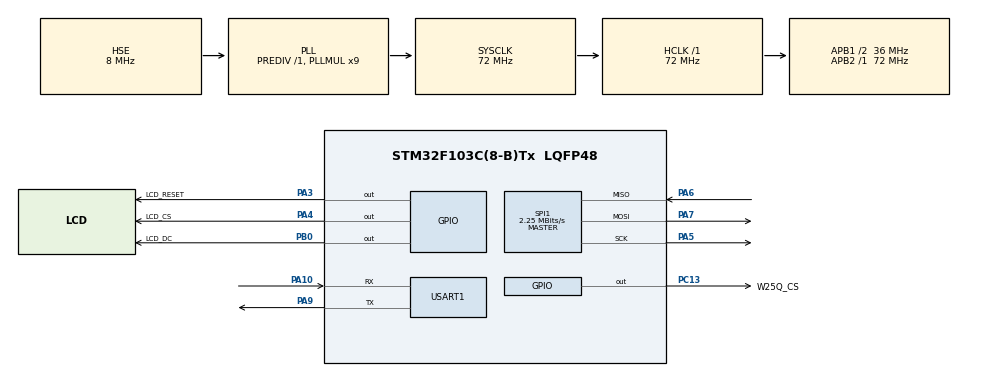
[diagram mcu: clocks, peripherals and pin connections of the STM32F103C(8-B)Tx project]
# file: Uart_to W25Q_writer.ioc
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Mcu.Family=STM32F1
Mcu.Name=STM32F103C(8-B)Tx
Mcu.Package=LQFP48
NVIC.PriorityGroup=NVIC_PRIORITYGROUP_4
NVIC.USART1_IRQn=true\:0\:0\:false\:false\:true\:true\:true
PA10.Mode=Asynchronous
PA10.Signal=USART1_RX
PA13.Mode=Serial_Wire
PA13.Signal=SYS_JTMS-SWDIO
PA14.Mode=Serial_Wire
PA14.Signal=SYS_JTCK-SWCLK
PA3.GPIO_Label=LCD_RESET
PA3.Signal=GPIO_Output
PA4.GPIO_Label=LCD_CS
PA4.Signal=GPIO_Output
PA5.Mode=Full_Duplex_Master
PA5.Signal=SPI1_SCK
PA6.Mode=Full_Duplex_Master
PA6.Signal=SPI1_MISO
PA7.Mode=Full_Duplex_Master
PA7.Signal=SPI1_MOSI
PA9.Mode=Asynchronous
PA9.Signal=USART1_TX
PB0.GPIO_Label=LCD_DC
PB0.Signal=GPIO_Output
PC13-TAMPER-RTC.GPIO_Label=W25Q_CS
PC13-TAMPER-RTC.PinState=GPIO_PIN_SET
PC13-TAMPER-RTC.Signal=GPIO_Output
PD0-OSC_IN.Mode=HSE-External-Oscillator
PD0-OSC_IN.Signal=RCC_OSC_IN
PD1-OSC_OUT.Mode=HSE-External-Oscillator
PD1-OSC_OUT.Signal=RCC_OSC_OUT
ProjectManager.HeapSize=0x200
ProjectManager.StackSize=0x400
ProjectManager.TargetToolchain=STM32CubeIDE
RCC.AHBFreq_Value=72000000
RCC.APB1CLKDivider=RCC_HCLK_DIV2
RCC.APB1Freq_Value=36000000
RCC.APB1TimFreq_Value=72000000
RCC.APB2Freq_Value=72000000
RCC.APB2TimFreq_Value=72000000
RCC.HCLKFreq_Value=72000000
RCC.PLLMUL=RCC_PLL_MUL9
RCC.PLLSourceVirtual=RCC_PLLSOURCE_HSE
RCC.SYSCLKFreq_VALUE=72000000
RCC.SYSCLKSource=RCC_SYSCLKSOURCE_PLLCLK
RCC.USBFreq_Value=72000000
SPI1.BaudRatePrescaler=SPI_BAUDRATEPRESCALER_32
SPI1.CalculateBaudRate=2.25 MBits/s
SPI1.Direction=SPI_DIRECTION_2LINES
SPI1.Mode=SPI_MODE_MASTER
SPI1.VirtualType=VM_MASTER
USART1.VirtualMode=VM_ASYNC
board=custom

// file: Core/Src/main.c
/* USER CODE BEGIN Header */
/**
  ******************************************************************************
	Test program for loading images in XBM format via UART
	and save to flash memory W25Q.To display uses the ST7565
	display with the U8G2 library.

	Тестовая программа для загрузки через UART картинок в формте XBM
	и сохранение в флэш память W25Q. Для отображения используется дисплей ST7565
	с библиотекой U8G2
  ******************************************************************************
  */
/* USER CODE END Header */
#include "main.h"

/* USER CODE BEGIN Includes */
#include "w25qxx.h"
#include "stdbool.h"
#include "stdio.h"
#include "string.h"
#include "u8g2.h"
/* USER CODE END Includes */

SPI_HandleTypeDef hspi1;

UART_HandleTypeDef huart1;

/* USER CODE BEGIN PV */
uint8_t rxSourceBuff[SOURCE_BUFFER_SIZE];
uint8_t rxdataBuff[DATA_BUFFER_SIZE];
volatile bool flag_uart_data_avalible = false;
volatile bool flag_uart_data_overflow = false;
uint16_t rx_received_len;
uint16_t rx_data_len;
uint16_t flash_sector_address;

u8g2_t u8g2;

/* USER CODE END PV */

void SystemClock_Config(void);
static void MX_GPIO_Init(void);
static void MX_SPI1_Init(void);
static void MX_USART1_UART_Init(void);
/* USER CODE BEGIN PFP */

void UartToFlashWriter(void);
int hex_char_to_bin(char ch);

uint8_t u8x8_byte_4wire_hw_spi(u8x8_t *u8x8, uint8_t msg, uint8_t arg_int, void *arg_ptr);
uint8_t u8g2_gpio_and_delay_stm32(U8X8_UNUSED u8x8_t *u8x8,
		U8X8_UNUSED uint8_t msg, U8X8_UNUSED uint8_t arg_int,
		U8X8_UNUSED void *arg_ptr);
void u8g_port_delay_10us(uint8_t us);
void u8g_port_delay_100ns(uint8_t ns);
void u8g_port_delay_ns(uint8_t ns);

/* USER CODE END PFP */

int main(void)
{

  /* MCU Configuration--------------------------------------------------------*/

  /* Reset of all peripherals, Initializes the Flash interface and the Systick. */
  HAL_Init();

  /* Configure the system clock */
  SystemClock_Config();

  /* Initialize all configured peripherals */
  MX_GPIO_Init();
  MX_SPI1_Init();
  MX_USART1_UART_Init();
  /* USER CODE BEGIN 2 */

  W25qxx_Init();
  //W25qxx_EraseChip();
  //W25qxx_EraseBlock(0); // 65536 байт
  //W25qxx_EraseSector(0); // 4096 байт
 // W25qxx_WriteSector(water_20level_bits, 0, 0, 1024);
  HAL_Delay(100);
  //W25qxx_ReadBytes(rxdataBuff, 0, 1024);

  HAL_UART_Receive_IT(&huart1, (uint8_t*)rxSourceBuff, SOURCE_BUFFER_SIZE);
  __HAL_UART_ENABLE_IT(&huart1, UART_IT_IDLE);

	u8g2_Setup_st7565_nhd_c12864_f(&u8g2, U8G2_R2, u8x8_byte_4wire_hw_spi, u8g2_gpio_and_delay_stm32);
	u8g2_InitDisplay(&u8g2); // send init sequence to the display, display is in sleep mode after this
	u8g2_SetPowerSave(&u8g2, 0); // wake up display
	u8g2_SetContrast(&u8g2, 250);
	u8g2_ClearDisplay(&u8g2);

	u8g2_SetFont(&u8g2, u8g2_font_courB18_tr);
	u8g2_DrawStr(&u8g2, 20, 30, "Hello!");
	u8g2_SendBuffer(&u8g2);
	HAL_Delay(1000);

  /* USER CODE END 2 */

  /* Infinite loop */
  /* USER CODE BEGIN WHILE */
  while (1)
  {

		UartToFlashWriter();

		u8g2_ClearBuffer(&u8g2);
		W25qxx_ReadBytes(rxdataBuff, 0, 1024);
		u8g2_DrawXBMP(&u8g2, 0, 0, 64, 55, rxdataBuff);
		u8g2_SendBuffer(&u8g2);
		HAL_Delay(3000);
		u8g2_ClearBuffer(&u8g2);
		W25qxx_ReadBytes(rxdataBuff, (FLASH_SECTOR_SIZE*1), 1024);
		u8g2_DrawXBMP(&u8g2, 0, 0, 64, 55, rxdataBuff);
		u8g2_SendBuffer(&u8g2);
		HAL_Delay(3000);
		u8g2_ClearBuffer(&u8g2);
		W25qxx_ReadBytes(rxdataBuff, (FLASH_SECTOR_SIZE*2), 1024);
		u8g2_DrawXBMP(&u8g2, 0, 0, 64, 55, rxdataBuff);
		u8g2_SendBuffer(&u8g2);
		HAL_Delay(3000);

    /* USER CODE END WHILE */

  }
}

void SystemClock_Config(void)
{
  RCC_OscInitTypeDef RCC_OscInitStruct = {0};
  RCC_ClkInitTypeDef RCC_ClkInitStruct = {0};

  /** Initializes the RCC Oscillators according to the specified parameters
  * in the RCC_OscInitTypeDef structure.
  */
  RCC_OscInitStruct.OscillatorType = RCC_OSCILLATORTYPE_HSE;
  RCC_OscInitStruct.HSEState = RCC_HSE_ON;
  RCC_OscInitStruct.HSEPredivValue = RCC_HSE_PREDIV_DIV1;
  RCC_OscInitStruct.HSIState = RCC_HSI_ON;
  RCC_OscInitStruct.PLL.PLLState = RCC_PLL_ON;
  RCC_OscInitStruct.PLL.PLLSource = RCC_PLLSOURCE_HSE;
  RCC_OscInitStruct.PLL.PLLMUL = RCC_PLL_MUL9;
  if (HAL_RCC_OscConfig(&RCC_OscInitStruct) != HAL_OK)
  {
    Error_Handler();
  }
  /** Initializes the CPU, AHB and APB buses clocks
  */
  RCC_ClkInitStruct.ClockType = RCC_CLOCKTYPE_HCLK|RCC_CLOCKTYPE_SYSCLK
                              |RCC_CLOCKTYPE_PCLK1|RCC_CLOCKTYPE_PCLK2;
  RCC_ClkInitStruct.SYSCLKSource = RCC_SYSCLKSOURCE_PLLCLK;
  RCC_ClkInitStruct.AHBCLKDivider = RCC_SYSCLK_DIV1;
  RCC_ClkInitStruct.APB1CLKDivider = RCC_HCLK_DIV2;
  RCC_ClkInitStruct.APB2CLKDivider = RCC_HCLK_DIV1;

  if (HAL_RCC_ClockConfig(&RCC_ClkInitStruct, FLASH_LATENCY_2) != HAL_OK)
  {
    Error_Handler();
  }
}

static void MX_SPI1_Init(void)
{

  /* SPI1 parameter configuration*/
  hspi1.Instance = SPI1;
  hspi1.Init.Mode = SPI_MODE_MASTER;
  hspi1.Init.Direction = SPI_DIRECTION_2LINES;
  hspi1.Init.DataSize = SPI_DATASIZE_8BIT;
  hspi1.Init.CLKPolarity = SPI_POLARITY_LOW;
  hspi1.Init.CLKPhase = SPI_PHASE_1EDGE;
  hspi1.Init.NSS = SPI_NSS_SOFT;
  hspi1.Init.BaudRatePrescaler = SPI_BAUDRATEPRESCALER_32;
  hspi1.Init.FirstBit = SPI_FIRSTBIT_MSB;
  hspi1.Init.TIMode = SPI_TIMODE_DISABLE;
  hspi1.Init.CRCCalculation = SPI_CRCCALCULATION_DISABLE;
  hspi1.Init.CRCPolynomial = 10;
  if (HAL_SPI_Init(&hspi1) != HAL_OK)
  {
    Error_Handler();
  }

}

static void MX_USART1_UART_Init(void)
{

  huart1.Instance = USART1;
  huart1.Init.BaudRate = 115200;
  huart1.Init.WordLength = UART_WORDLENGTH_8B;
  huart1.Init.StopBits = UART_STOPBITS_1;
  huart1.Init.Parity = UART_PARITY_NONE;
  huart1.Init.Mode = UART_MODE_TX_RX;
  huart1.Init.HwFlowCtl = UART_HWCONTROL_NONE;
  huart1.Init.OverSampling = UART_OVERSAMPLING_16;
  if (HAL_UART_Init(&huart1) != HAL_OK)
  {
    Error_Handler();
  }

}

static void MX_GPIO_Init(void)
{
  GPIO_InitTypeDef GPIO_InitStruct = {0};

  /* GPIO Ports Clock Enable */
  __HAL_RCC_GPIOC_CLK_ENABLE();
  __HAL_RCC_GPIOD_CLK_ENABLE();
  __HAL_RCC_GPIOA_CLK_ENABLE();
  __HAL_RCC_GPIOB_CLK_ENABLE();

  /*Configure GPIO pin Output Level */
  HAL_GPIO_WritePin(W25Q_CS_GPIO_Port, W25Q_CS_Pin, GPIO_PIN_SET);

  /*Configure GPIO pin Output Level */
  HAL_GPIO_WritePin(GPIOA, LCD_RESET_Pin|LCD_CS_Pin, GPIO_PIN_RESET);

  /*Configure GPIO pin Output Level */
  HAL_GPIO_WritePin(LCD_DC_GPIO_Port, LCD_DC_Pin, GPIO_PIN_RESET);

  /*Configure GPIO pin : W25Q_CS_Pin */
  GPIO_InitStruct.Pin = W25Q_CS_Pin;
  GPIO_InitStruct.Mode = GPIO_MODE_OUTPUT_PP;
  GPIO_InitStruct.Pull = GPIO_NOPULL;
  GPIO_InitStruct.Speed = GPIO_SPEED_FREQ_LOW;
  HAL_GPIO_Init(W25Q_CS_GPIO_Port, &GPIO_InitStruct);

  /*Configure GPIO pins : LCD_RESET_Pin LCD_CS_Pin */
  GPIO_InitStruct.Pin = LCD_RESET_Pin|LCD_CS_Pin;
  GPIO_InitStruct.Mode = GPIO_MODE_OUTPUT_PP;
  GPIO_InitStruct.Pull = GPIO_NOPULL;
  GPIO_InitStruct.Speed = GPIO_SPEED_FREQ_LOW;
  HAL_GPIO_Init(GPIOA, &GPIO_InitStruct);

  /*Configure GPIO pin : LCD_DC_Pin */
  GPIO_InitStruct.Pin = LCD_DC_Pin;
  GPIO_InitStruct.Mode = GPIO_MODE_OUTPUT_PP;
  GPIO_InitStruct.Pull = GPIO_NOPULL;
  GPIO_InitStruct.Speed = GPIO_SPEED_FREQ_LOW;
  HAL_GPIO_Init(LCD_DC_GPIO_Port, &GPIO_InitStruct);

}

/* USER CODE BEGIN 4 */

//колбэк прерывания по завершению приёма данных максимального размера буфера
void HAL_UART_RxCpltCallback(UART_HandleTypeDef *huart)
{
         if(huart == &huart1)

          {
        	 flag_uart_data_overflow = true;

        	 /*
        	  __HAL_UART_DISABLE_IT(&huart1, UART_IT_IDLE);
        	  rx_received_len = SOURCE_BUFFER_SIZE;
        	  flag_uart_data_avalible = 1;
			  HAL_UART_AbortReceive(&huart1);
			  __HAL_UART_CLEAR_IDLEFLAG(&huart1);
			  __HAL_UART_ENABLE_IT(&huart1, UART_IT_IDLE);
			  HAL_UART_Receive_IT(&huart1, (uint8_t*)rxSourceBuff, SOURCE_BUFFER_SIZE);
			*/
          }

}
//*************************************************************************

// функция колбэк срабатывания флага свободности UART
//определяет конец приёма при неизвестном размере входных данных
//проверка флага UART_FLAG_IDLE и колбэк добавлены в обработчик прерывания
void HAL_UART_IDLE_Callback(UART_HandleTypeDef *huart)
{

	if(huart == &huart1)
	{
		__HAL_UART_DISABLE_IT(&huart1, UART_IT_IDLE);
		rx_received_len = SOURCE_BUFFER_SIZE - huart->RxXferCount;

		flag_uart_data_avalible = true;
		HAL_UART_AbortReceive(&huart1);
		__HAL_UART_CLEAR_IDLEFLAG(&huart1);
		__HAL_UART_ENABLE_IT(&huart1, UART_IT_IDLE);
		HAL_UART_Receive_IT(&huart1, (uint8_t*)rxSourceBuff, SOURCE_BUFFER_SIZE);
	}
}
//**************************************************************************

//функция приёма данных по UART и записи их во флэш W25Q
void UartToFlashWriter(void){

	if (flag_uart_data_avalible) {

		flag_uart_data_avalible = false;

		enum state {
			check_sector_index_prefix,
			read_sector_index,
			check_byte_prefix,
			read_byte,
			write_byte,
			next,
			save_data,
			source_overflow,
			data_overflow,
			error,
			end
		};

		enum state step = check_sector_index_prefix;
		uint16_t i = 0; //incoming char counter
		uint8_t data_byte = 0;
		bool flag_flash_address_ok = false;
		bool flag_end = false;
		char buff[64] = { 0, };

		if (flag_uart_data_overflow) {
			step = source_overflow;
			flag_uart_data_overflow = false;
		} else {
			step = check_sector_index_prefix;
		}

		while (!flag_end) {

			switch (step) {

			case check_sector_index_prefix:
				if (rxSourceBuff[i] == '$' && rxSourceBuff[i + 1] == '0'
						&& rxSourceBuff[i + 2] == 'x'
						&& rxSourceBuff[i + 5] == '$') {
					step = read_sector_index;
					i += 3;
					flag_flash_address_ok = true;
				} else {
					step = next;
				}
				break;

			case read_sector_index:
				flash_sector_address = hex_char_to_bin(rxSourceBuff[i]) * 16;
				flash_sector_address += hex_char_to_bin(rxSourceBuff[i + 1]);

				if ((flash_sector_address >= FLASH_SECTOR_RANGE_MIN)
						|| (flash_sector_address <= FLASH_SECTOR_RANGE_MAX)) {
					i += 3;
					step = check_byte_prefix;
				} else {
					sprintf(buff, "\r\n Flash sector address %d not correct.",
							flash_sector_address);
					HAL_UART_Transmit(&huart1, (uint8_t*) buff,
							strlen((char*) buff), 100);
					step = error;
				}
				break;

			case check_byte_prefix:
				if (rxSourceBuff[i] == '0' && rxSourceBuff[i + 1] == 'x') {
					step = read_byte;
					i += 2;
				} else {
					step = next;
				}
				break;

			case read_byte:
				data_byte = hex_char_to_bin(rxSourceBuff[i]) * 16;
				data_byte += hex_char_to_bin(rxSourceBuff[i + 1]);
				step = write_byte;
				i += 2;
				break;

			case write_byte:
				if (rx_data_len <= (DATA_BUFFER_SIZE)) {
					rxdataBuff[rx_data_len++] = data_byte;
					HAL_UART_Transmit(&huart1, (uint8_t*) &data_byte, 1, 100);
					step = next;
				} else {
					step = data_overflow;
				}
				break;

			case next:
				i++;
				if (i > rx_received_len) {
					if (flag_flash_address_ok == true) {
						step = save_data;
					} else {
						sprintf(buff, "\r\n Incorrect format.");
						HAL_UART_Transmit(&huart1, (uint8_t*) buff,
								strlen((char*) buff), 100);
						step = error;
					}
				} else {
					if (flag_flash_address_ok == true)
						step = check_byte_prefix;
					else
						step = check_sector_index_prefix;
				}
				break;

			case save_data:
				W25qxx_EraseSector(flash_sector_address);
				W25qxx_WriteSector(rxdataBuff, flash_sector_address, 0, rx_data_len);
				memset(rxdataBuff, 0, DATA_BUFFER_SIZE);

				sprintf(buff, "\r\n Successful!");
				HAL_UART_Transmit(&huart1, (uint8_t*) buff,
						strlen((char*) buff), 100);
				sprintf(buff, "\r\n Written %d byte to sector %d ", rx_data_len,
						flash_sector_address);
				HAL_UART_Transmit(&huart1, (uint8_t*) buff,
						strlen((char*) buff), 100);
				sprintf(buff, "\r\n Source data size %d byte", rx_received_len);
				HAL_UART_Transmit(&huart1, (uint8_t*) buff,
						strlen((char*) buff), 100);
				step = end;
				break;

			case source_overflow:
				sprintf(buff,
						"\r\n Source buffer overflow.\r\n Max size %d byte",
						SOURCE_BUFFER_SIZE - 1);
				HAL_UART_Transmit(&huart1, (uint8_t*) buff,
						strlen((char*) buff), 100);
				step = error;
				break;

			case data_overflow:
				sprintf(buff, "\r\n Data buffer overflow.\r\n Max size %d byte",
						DATA_BUFFER_SIZE);
				HAL_UART_Transmit(&huart1, (uint8_t*) buff,
						strlen((char*) buff), 100);
				step = error;
				break;

			case error:
				sprintf(buff, "\r\n Fault.");
				HAL_UART_Transmit(&huart1, (uint8_t*) buff,
						strlen((char*) buff), 100);
				step = end;
				break;

			case end:
				flag_end = true;
				step = check_sector_index_prefix;
				rx_data_len = 0;
				break;

			default:
				step = error;
				break;
			}
		}

		flag_end = false;

	}

}

//**************************************************************************

// функция преобразования символа в число
int hex_char_to_bin(char ch)
{
        if(ch >= '0' && ch <= '9')
        {
                return (ch - '0');
        }
        else if(ch >= 'a' && ch <= 'f')
        {
                return (10 + ch - 'a');
        }
        else if(ch >= 'A' && ch <= 'F')
        {
                return (10 + ch - 'A');
        }
        return -1;

}
//********************************************************************************

//функции задержек для работы библиотеки дисплея
void u8g_port_delay_ns(uint8_t ns) {
	// Core @72 MHZ: 14ns per instruction.
	// __NOP(); is direct "nop;" instruction to cpu.
	// Divide ns / 28 (extra instruction for jump back to beginning of the loop) for loop cycles.
	for (uint8_t i = 0; i < (ns / 28); i++) {
		__NOP();
	}
}

void u8g_port_delay_100ns(uint8_t ns) {
	// Same as in u8g_hw_port_delay_ns function.
	// 100 / 28 = 3.57;
	for (uint16_t i = 0; i < (ns * 3.57); i++) {
		__NOP();
	}
}

void u8g_port_delay_10us(uint8_t us) {
	// Same as in u8g_hw_port_delay_ns function.
	// 3.57 * 100 ? 357;
	for (uint16_t i = 0; i < (us * 357); i++) {
		__NOP();
	}
}
//************************************************************************

// функция обработки задержек и управления gpio для работы библиотеки дисплея
uint8_t u8g2_gpio_and_delay_stm32(U8X8_UNUSED u8x8_t *u8x8,
		U8X8_UNUSED uint8_t msg, U8X8_UNUSED uint8_t arg_int,
		U8X8_UNUSED void *arg_ptr) {

	switch (msg) {

		case U8X8_MSG_GPIO_AND_DELAY_INIT:
		HAL_GPIO_WritePin(LCD_CS_GPIO_Port, LCD_CS_Pin, RESET);
		break;

		case U8X8_MSG_DELAY_NANO:
		u8g_port_delay_ns(arg_int);
		break;

		case U8X8_MSG_DELAY_100NANO:
		u8g_port_delay_100ns(arg_int);
		break;

		case U8X8_MSG_DELAY_10MICRO:
		u8g_port_delay_10us(arg_int);
		break;

		case U8X8_MSG_DELAY_MILLI:
		HAL_Delay(arg_int);
		break;

		case U8X8_MSG_GPIO_RESET:
		if (arg_int)
		HAL_GPIO_WritePin(LCD_RESET_GPIO_Port, LCD_RESET_Pin, SET);
		else
		HAL_GPIO_WritePin(LCD_RESET_GPIO_Port, LCD_RESET_Pin, RESET);
		break;
		default:
		return 0;//A message was received which is not implemented, return 0 to indicate an error
	}

	return 1; // command processed successfully.
}
//***************************************************************************************************

// функция для работы библиотеки дисплея по SPI
uint8_t u8x8_byte_4wire_hw_spi(u8x8_t *u8x8, uint8_t msg, uint8_t arg_int,
		void *arg_ptr) {

	switch (msg) {
	case U8X8_MSG_BYTE_SEND:
		HAL_SPI_Transmit(&hspi1, (uint8_t*) arg_ptr, arg_int, 100);
		break;

	case U8X8_MSG_BYTE_INIT:
		break;

	case U8X8_MSG_BYTE_SET_DC:
		 HAL_GPIO_WritePin(LCD_DC_GPIO_Port, LCD_DC_Pin, arg_int);
		break;

	case U8X8_MSG_BYTE_START_TRANSFER:
		HAL_GPIO_WritePin(LCD_CS_GPIO_Port, LCD_CS_Pin, RESET);
		break;

	case U8X8_MSG_BYTE_END_TRANSFER:
		HAL_GPIO_WritePin(LCD_CS_GPIO_Port, LCD_CS_Pin, SET);
		break;

	default:
		return 0;
	}
	return 1;
}
//*****************************************************************************************
/* USER CODE END 4 */

void Error_Handler(void)
{
  __disable_irq();
  while (1)
  {
  }
}

/************************ (C) COPYRIGHT STMicroelectronics *****END OF FILE****/
